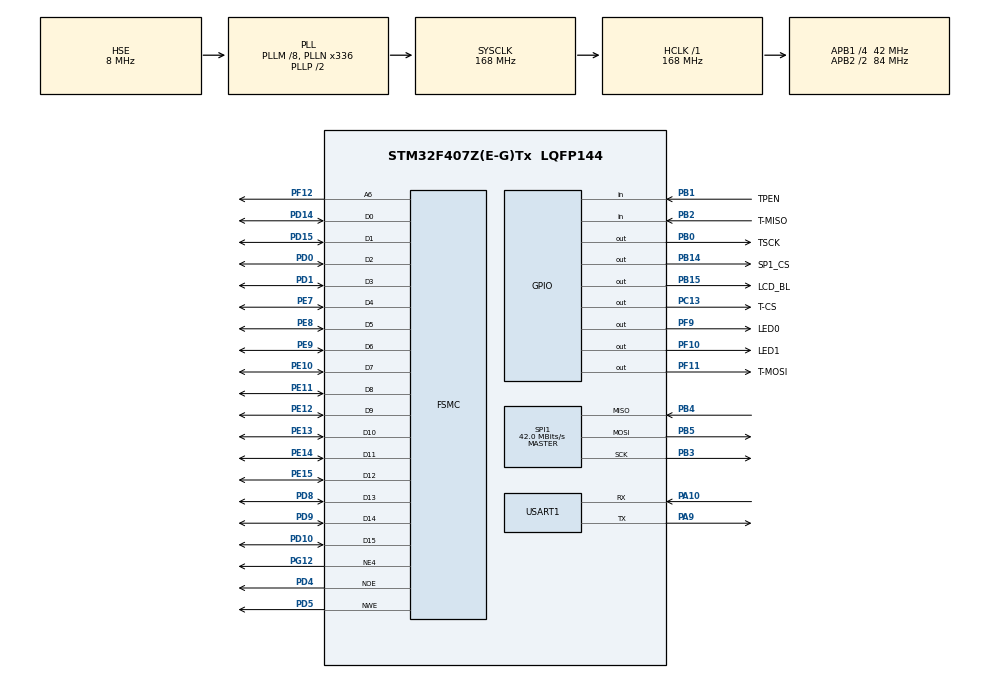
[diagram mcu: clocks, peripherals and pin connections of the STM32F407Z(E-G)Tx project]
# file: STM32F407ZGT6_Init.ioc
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FSMC.AddressSetupTime1=0x0F
FSMC.BusTurnAroundDuration1=0
FSMC.DataSetupTime1=60
FSMC.ExtendedAddressSetupTime1=9
FSMC.ExtendedBusTurnAroundDuration1=0
FSMC.ExtendedDataSetupTime1=9
FSMC.ExtendedMode1=FSMC_EXTENDED_MODE_ENABLE
Mcu.Family=STM32F4
Mcu.Name=STM32F407Z(E-G)Tx
Mcu.Package=LQFP144
NVIC.PriorityGroup=NVIC_PRIORITYGROUP_4
NVIC.USART1_IRQn=true\:2\:0\:true\:false\:true\:true\:true\:true
PA10.Mode=Asynchronous
PA10.Signal=USART1_RX
PA13.Mode=Serial_Wire
PA13.Signal=SYS_JTMS-SWDIO
PA14.Mode=Serial_Wire
PA14.Signal=SYS_JTCK-SWCLK
PA9.Mode=Asynchronous
PA9.Signal=USART1_TX
PB0.GPIO_Label=TSCK
PB0.Signal=GPIO_Output
PB1.GPIO_Label=TPEN
PB1.GPIO_PuPd=GPIO_PULLUP
PB1.Signal=GPIO_Input
PB14.GPIO_Label=SP1_CS
PB14.GPIO_PuPd=GPIO_PULLUP
PB14.GPIO_Speed=GPIO_SPEED_FREQ_MEDIUM
PB14.Signal=GPIO_Output
PB15.GPIO_Label=LCD_BL
PB15.Signal=GPIO_Output
PB2.GPIO_Label=T-MISO
PB2.GPIO_PuPd=GPIO_PULLUP
PB2.Signal=GPIO_Input
PB3.Mode=Full_Duplex_Master
PB3.Signal=SPI1_SCK
PB4.Mode=Full_Duplex_Master
PB4.Signal=SPI1_MISO
PB5.Mode=Full_Duplex_Master
PB5.Signal=SPI1_MOSI
PC13-ANTI_TAMP.GPIO_Label=T-CS
PC13-ANTI_TAMP.Signal=GPIO_Output
PD0.Signal=FSMC_D2_DA2
PD1.Signal=FSMC_D3_DA3
PD10.Signal=FSMC_D15_DA15
PD14.Signal=FSMC_D0_DA0
PD15.Signal=FSMC_D1_DA1
PD4.Signal=FSMC_NOE
PD5.Signal=FSMC_NWE
PD8.Signal=FSMC_D13_DA13
PD9.Signal=FSMC_D14_DA14
PE10.Signal=FSMC_D7_DA7
PE11.Signal=FSMC_D8_DA8
PE12.Signal=FSMC_D9_DA9
PE13.Signal=FSMC_D10_DA10
PE14.Signal=FSMC_D11_DA11
PE15.Signal=FSMC_D12_DA12
PE7.Signal=FSMC_D4_DA4
PE8.Signal=FSMC_D5_DA5
PE9.Signal=FSMC_D6_DA6
PF10.GPIO_Label=LED1
PF10.GPIO_PuPd=GPIO_PULLUP
PF10.Signal=GPIO_Output
PF11.GPIO_Label=T-MOSI
PF11.Signal=GPIO_Output
PF12.Signal=FSMC_A6
PF9.GPIO_Label=LED0
PF9.GPIO_PuPd=GPIO_PULLUP
PF9.Signal=GPIO_Output
PG12.Mode=NorPsramChipSelect4_1
PG12.Signal=FSMC_NE4
PH0-OSC_IN.Mode=HSE-External-Oscillator
PH0-OSC_IN.Signal=RCC_OSC_IN
PH1-OSC_OUT.Mode=HSE-External-Oscillator
PH1-OSC_OUT.Signal=RCC_OSC_OUT
ProjectManager.HeapSize=0x800
ProjectManager.StackSize=0x1000
ProjectManager.TargetToolchain=MDK-ARM V5.32
RCC.48MHZClocksFreq_Value=84000000
RCC.AHBFreq_Value=168000000
RCC.APB1CLKDivider=RCC_HCLK_DIV4
RCC.APB1Freq_Value=42000000
RCC.APB1TimFreq_Value=84000000
RCC.APB2CLKDivider=RCC_HCLK_DIV2
RCC.APB2Freq_Value=84000000
RCC.APB2TimFreq_Value=168000000
RCC.CortexFreq_Value=168000000
RCC.HCLKFreq_Value=168000000
RCC.HSE_VALUE=8000000
RCC.HSI_VALUE=16000000
RCC.LSE_VALUE=32768
RCC.PLLM=8
RCC.PLLN=336
RCC.PLLSourceVirtual=RCC_PLLSOURCE_HSE
RCC.SYSCLKFreq_VALUE=168000000
RCC.SYSCLKSource=RCC_SYSCLKSOURCE_PLLCLK
RCC.VCOOutputFreq_Value=336000000
SH.FSMC_A6.0=FSMC_A6,A6_1
SH.FSMC_D0_DA0.0=FSMC_D0,16b-d1
SH.FSMC_D10_DA10.0=FSMC_D10,16b-d1
SH.FSMC_D11_DA11.0=FSMC_D11,16b-d1
SH.FSMC_D12_DA12.0=FSMC_D12,16b-d1
SH.FSMC_D13_DA13.0=FSMC_D13,16b-d1
SH.FSMC_D14_DA14.0=FSMC_D14,16b-d1
SH.FSMC_D15_DA15.0=FSMC_D15,16b-d1
SH.FSMC_D1_DA1.0=FSMC_D1,16b-d1
SH.FSMC_D2_DA2.0=FSMC_D2,16b-d1
SH.FSMC_D3_DA3.0=FSMC_D3,16b-d1
SH.FSMC_D4_DA4.0=FSMC_D4,16b-d1
SH.FSMC_D5_DA5.0=FSMC_D5,16b-d1
SH.FSMC_D6_DA6.0=FSMC_D6,16b-d1
SH.FSMC_D7_DA7.0=FSMC_D7,16b-d1
SH.FSMC_D8_DA8.0=FSMC_D8,16b-d1
SH.FSMC_D9_DA9.0=FSMC_D9,16b-d1
SH.FSMC_NOE.0=FSMC_NOE,Lcd1
SH.FSMC_NWE.0=FSMC_NWE,Lcd1
SPI1.CalculateBaudRate=42.0 MBits/s
SPI1.Direction=SPI_DIRECTION_2LINES
SPI1.Mode=SPI_MODE_MASTER
SPI1.VirtualType=VM_MASTER
TIM6.Prescaler=83
USART1.VirtualMode=VM_ASYNC
VP_TIM6_VS_ClockSourceINT.Mode=Enable_Timer
board=custom

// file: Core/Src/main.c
/* USER CODE BEGIN Header */
/**
  ******************************************************************************
  * @file           : main.c
  * @brief          : Main program body
  ******************************************************************************
  * @attention
  *
  * Copyright (c) 2024 STMicroelectronics.
  * All rights reserved.
  *
  * This software is licensed under terms that can be found in the LICENSE file
  * in the root directory of this software component.
  * If no LICENSE file comes with this software, it is provided AS-IS.
  *
  ******************************************************************************
  */
/* USER CODE END Header */
#include "main.h"
#include "spi.h"
#include "tim.h"
#include "usart.h"
#include "gpio.h"
#include "fsmc.h"

/* USER CODE BEGIN Includes */
#include "lcd.h"
#include "touch.h"
#include "w25qxx.h"
/* USER CODE END Includes */

void SystemClock_Config(void);

int main(void)
{

  /* MCU Configuration--------------------------------------------------------*/

  /* Reset of all peripherals, Initializes the Flash interface and the Systick. */
  HAL_Init();

  /* Configure the system clock */
  SystemClock_Config();

  /* Initialize all configured peripherals */
  MX_GPIO_Init();
  MX_FSMC_Init();
  MX_USART1_UART_Init();
  MX_TIM6_Init();
  MX_SPI1_Init();
  /* USER CODE BEGIN 2 */
	LCD_Init();
	W25QXX_Init();
	GBK_Lib_Init();//硬件GBK字库初始化--(如果使用不带字库的液晶屏版本，此处可以屏蔽，不做字库初始化）
	tp_dev.init();				//触摸屏初始化
	// 开启串口接收中断
  HAL_UART_Receive_IT(&huart1, (uint8_t *)&usart1Recv.recvData, 1);
//	Demo_Menu();
	printf("W25Q16id is 0X%X",W25QXX_ReadID());
  /* USER CODE END 2 */

  /* Infinite loop */
  /* USER CODE BEGIN WHILE */
  while (1)
  {
		if(TP_Scan(1))
			printf("x is 0x%X,y is 0x%X\r\n",tp_dev.x[0],tp_dev.y[0]);
		if(usart1Recv.recvFlag == 1)
		{
			usart1Recv.recvFlag = 0;
			if(strcmp(usart1Recv.recvBuff, "LED\r") == 0)
			{
				// 发送数据
				printf(usart1Recv.recvBuff);
				printf("temp is %d\r\n",temp);
				HAL_GPIO_TogglePin(LED0_GPIO_Port,LED0_Pin);
				HAL_GPIO_TogglePin(LED1_GPIO_Port,LED1_Pin);
			}
			// 发送数据
			printf("UART_FLAG\r\n");
			memset(usart1Recv.recvBuff,0,sizeof(usart1Recv.recvBuff));
		}
    /* USER CODE END WHILE */

  }
}

void SystemClock_Config(void)
{
  RCC_OscInitTypeDef RCC_OscInitStruct = {0};
  RCC_ClkInitTypeDef RCC_ClkInitStruct = {0};

  /** Configure the main internal regulator output voltage
  */
  __HAL_RCC_PWR_CLK_ENABLE();
  __HAL_PWR_VOLTAGESCALING_CONFIG(PWR_REGULATOR_VOLTAGE_SCALE1);

  /** Initializes the RCC Oscillators according to the specified parameters
  * in the RCC_OscInitTypeDef structure.
  */
  RCC_OscInitStruct.OscillatorType = RCC_OSCILLATORTYPE_HSE;
  RCC_OscInitStruct.HSEState = RCC_HSE_ON;
  RCC_OscInitStruct.PLL.PLLState = RCC_PLL_ON;
  RCC_OscInitStruct.PLL.PLLSource = RCC_PLLSOURCE_HSE;
  RCC_OscInitStruct.PLL.PLLM = 8;
  RCC_OscInitStruct.PLL.PLLN = 336;
  RCC_OscInitStruct.PLL.PLLP = RCC_PLLP_DIV2;
  RCC_OscInitStruct.PLL.PLLQ = 4;
  if (HAL_RCC_OscConfig(&RCC_OscInitStruct) != HAL_OK)
  {
    Error_Handler();
  }

  /** Initializes the CPU, AHB and APB buses clocks
  */
  RCC_ClkInitStruct.ClockType = RCC_CLOCKTYPE_HCLK|RCC_CLOCKTYPE_SYSCLK
                              |RCC_CLOCKTYPE_PCLK1|RCC_CLOCKTYPE_PCLK2;
  RCC_ClkInitStruct.SYSCLKSource = RCC_SYSCLKSOURCE_PLLCLK;
  RCC_ClkInitStruct.AHBCLKDivider = RCC_SYSCLK_DIV1;
  RCC_ClkInitStruct.APB1CLKDivider = RCC_HCLK_DIV4;
  RCC_ClkInitStruct.APB2CLKDivider = RCC_HCLK_DIV2;

  if (HAL_RCC_ClockConfig(&RCC_ClkInitStruct, FLASH_LATENCY_5) != HAL_OK)
  {
    Error_Handler();
  }
}

void Error_Handler(void)
{
  __disable_irq();
  while (1)
  {
  }
}
